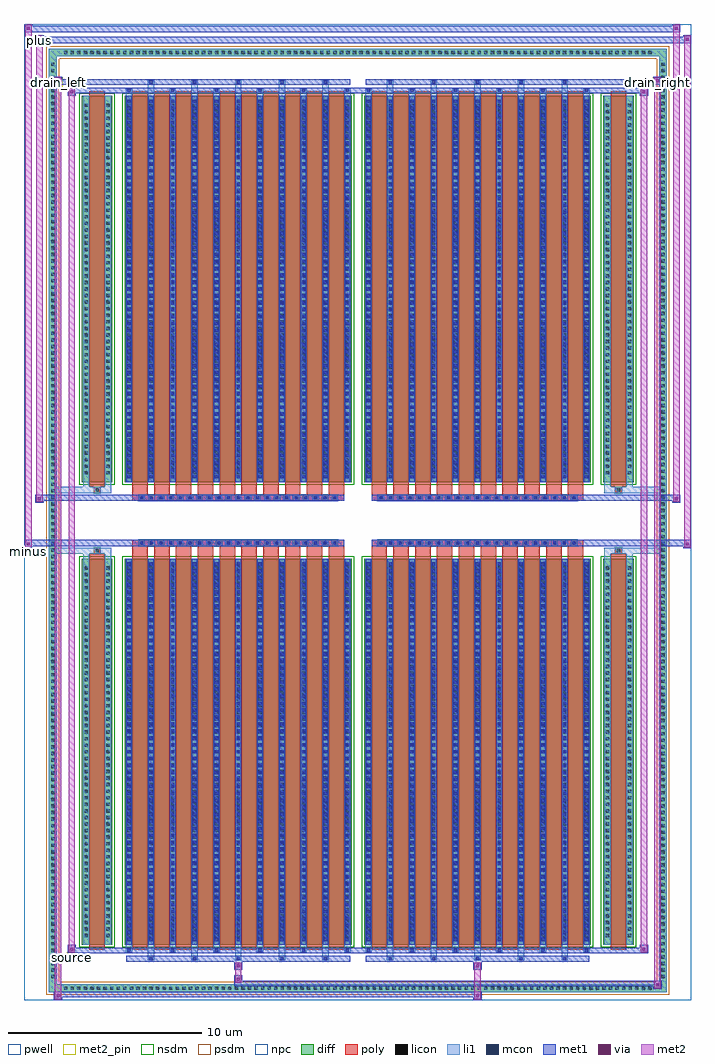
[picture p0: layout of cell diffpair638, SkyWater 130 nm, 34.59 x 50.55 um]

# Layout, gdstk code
import gdstk
lib = gdstk.Library(unit=1e-6, precision=5e-09)
def R(c, l, rs):  # rectangles x0, y0, x1, y1
    for r in rs: c.add(gdstk.rectangle(r[:2], r[2:], *l))
def A(c, l, x, y, w, h, nx, ny, dx, dy):  # array of equal rectangles
    R(c, l, [(x+i*dx, y+j*dy, x+i*dx+w, y+j*dy+h) for i in range(nx) for j in range(ny)])
def P(c, l, *ps):  # polygons
    for p in ps: c.add(gdstk.Polygon(p, *l))
pwell = (64, 44)
diff = (65, 20)
poly = (66, 20)
licon = (66, 44)
li1 = (67, 20)
mcon = (67, 44)
met1 = (68, 20)
via = (68, 44)
met2_pin = (69, 16)
met2 = (69, 20)
nsdm = (93, 44)
psdm = (94, 20)
npc = (95, 20)

diffpair638 = lib.new_cell('diffpair638')
R(diffpair638, pwell, [(-17.28,-24.84,17.28,25.71), (-14.6,-23.03,-0.01,-0.805), (0.01,-23.03,14.6,-0.805), (-14.6,0.805,-0.01,23.03), (0.01,0.805,14.6,23.03)])
A(diffpair638, diff, -15.335, -24.44, 0.41, 0.41, 90, 2, 0.34, 48.47)
A(diffpair638, diff, -16.01, -23.835, 0.41, 0.41, 1, 140, 0, 0.34)
A(diffpair638, diff, 15.6, -23.835, 0.41, 0.41, 1, 140, 0, 0.34)
R(diffpair638, diff, [(-15.335,-24.44,15.335,-24.03), (-16.01,-23.835,-15.6,23.835), (15.6,-23.835,16.01,23.835), (-14.29,-21.985,-12.71,-1.985), (-12.07,-21.985,-0.32,-1.985), (0.32,-21.985,12.07,-1.985), (12.71,-21.985,14.29,-1.985), (-14.29,1.985,-12.71,21.985), (-12.07,1.985,-0.32,21.985), (0.32,1.985,12.07,21.985), (12.71,1.985,14.29,21.985), (-15.335,24.03,15.335,24.44)])
P(diffpair638, diff, [(16.01,24.44),(-16.01,24.44),(-16.01,-24.03),(-15.6,-24.03),(-15.6,24.03),(15.6,24.03),(15.6,-24.03),(-15.6,-24.03),(-16.01,-24.03),(-16.01,-24.44),(16.01,-24.44)])
A(diffpair638, poly, -11.68, -22.235, 0.8, 20.5, 10, 2, 1.13, 23.97)
A(diffpair638, poly, 0.71, -22.235, 0.8, 20.5, 10, 2, 1.13, 23.97)
A(diffpair638, poly, -11.68, -1.735, 0.8, 0.4, 10, 2, 1.13, 3.07)
A(diffpair638, poly, 0.71, -1.735, 0.8, 0.4, 10, 2, 1.13, 3.07)
A(diffpair638, poly, -11.36, -1.335, 0.33, 0.33, 21, 2, 0.5, 2.34)
A(diffpair638, poly, 1.03, -1.335, 0.33, 0.33, 21, 2, 0.5, 2.34)
R(diffpair638, poly, [(-13.9,-22.235,-13.1,-1.735), (13.1,-22.235,13.9,-1.735), (-13.665,-1.735,-13.335,-1.405), (-13.665,-1.735,-13.335,-1.405), (13.335,-1.735,13.665,-1.405), (13.335,-1.735,13.665,-1.405), (-11.68,-1.335,-0.71,-1.005), (0.71,-1.335,11.68,-1.005), (-11.68,1.005,-0.71,1.335), (0.71,1.005,11.68,1.335), (-13.665,1.405,-13.335,1.735), (-13.665,1.405,-13.335,1.735), (13.335,1.405,13.665,1.735), (13.335,1.405,13.665,1.735), (-13.9,1.735,-13.1,22.235), (13.1,1.735,13.9,22.235)])
A(diffpair638, licon, -15.215, -24.32, 0.17, 0.17, 90, 2, 0.34, 48.47)
A(diffpair638, licon, -15.89, -23.715, 0.17, 0.17, 1, 140, 0, 0.34)
A(diffpair638, licon, 15.72, -23.715, 0.17, 0.17, 1, 140, 0, 0.34)
A(diffpair638, licon, -14.15, -21.59, 0.17, 0.17, 1, 57, 0, 0.34)
A(diffpair638, licon, -13.02, -21.59, 0.17, 0.17, 1, 57, 0, 0.34)
A(diffpair638, licon, -11.93, -21.59, 0.17, 0.17, 11, 57, 1.13, 0.34)
A(diffpair638, licon, 0.46, -21.59, 0.17, 0.17, 11, 57, 1.13, 0.34)
A(diffpair638, licon, 12.85, -21.59, 0.17, 0.17, 1, 57, 0, 0.34)
A(diffpair638, licon, 13.98, -21.59, 0.17, 0.17, 1, 57, 0, 0.34)
A(diffpair638, licon, -11.28, -1.255, 0.17, 0.17, 21, 2, 0.5, 2.34)
A(diffpair638, licon, 1.11, -1.255, 0.17, 0.17, 21, 2, 0.5, 2.34)
A(diffpair638, licon, -14.15, 2.38, 0.17, 0.17, 1, 57, 0, 0.34)
A(diffpair638, licon, -13.02, 2.38, 0.17, 0.17, 1, 57, 0, 0.34)
A(diffpair638, licon, -11.93, 2.38, 0.17, 0.17, 11, 57, 1.13, 0.34)
A(diffpair638, licon, 0.46, 2.38, 0.17, 0.17, 11, 57, 1.13, 0.34)
A(diffpair638, licon, 12.85, 2.38, 0.17, 0.17, 1, 57, 0, 0.34)
A(diffpair638, licon, 13.98, 2.38, 0.17, 0.17, 1, 57, 0, 0.34)
R(diffpair638, licon, [(-13.585,-1.655,-13.415,-1.485), (13.415,-1.655,13.585,-1.485), (-13.585,1.485,-13.415,1.655), (13.415,1.485,13.585,1.655)])
A(diffpair638, li1, -15.295, -24.4, 0.33, 0.33, 90, 2, 0.34, 48.47)
A(diffpair638, li1, -15.97, -23.795, 0.33, 0.33, 1, 140, 0, 0.34)
A(diffpair638, li1, 15.64, -23.795, 0.33, 0.33, 1, 140, 0, 0.34)
A(diffpair638, li1, -10.88, -22.79, 0.33, 0.805, 5, 2, 2.26, 44.775)
A(diffpair638, li1, -10.8, -22.79, 0.17, 0.17, 5, 2, 2.26, 45.41)
A(diffpair638, li1, 1.51, -22.79, 0.33, 0.805, 5, 2, 2.26, 44.775)
A(diffpair638, li1, 1.59, -22.79, 0.17, 0.17, 5, 2, 2.26, 45.41)
A(diffpair638, li1, -12.01, -22.36, 0.33, 0.375, 6, 2, 2.26, 44.345)
A(diffpair638, li1, -11.93, -22.36, 0.17, 0.17, 6, 2, 2.26, 44.55)
A(diffpair638, li1, 0.38, -22.36, 0.33, 0.375, 6, 2, 2.26, 44.345)
A(diffpair638, li1, 0.46, -22.36, 0.17, 0.17, 6, 2, 2.26, 44.55)
A(diffpair638, li1, -12.01, -21.985, 0.33, 20, 11, 2, 1.13, 23.97)
A(diffpair638, li1, 0.38, -21.985, 0.33, 20, 11, 2, 1.13, 23.97)
A(diffpair638, li1, -11.93, -21.79, 0.17, 0.17, 11, 55, 1.13, 0.36)
A(diffpair638, li1, -11.93, -21.79, 0.17, 19.61, 11, 2, 1.13, 23.97)
A(diffpair638, li1, 0.46, -21.79, 0.17, 0.17, 11, 55, 1.13, 0.36)
A(diffpair638, li1, 0.46, -21.79, 0.17, 19.61, 11, 2, 1.13, 23.97)
A(diffpair638, li1, -14.23, -21.67, 0.33, 0.33, 1, 57, 0, 0.34)
A(diffpair638, li1, -13.1, -21.67, 0.33, 0.33, 1, 57, 0, 0.34)
A(diffpair638, li1, -12.01, -21.67, 0.33, 0.33, 11, 57, 1.13, 0.34)
A(diffpair638, li1, 0.38, -21.67, 0.33, 0.33, 11, 57, 1.13, 0.34)
A(diffpair638, li1, 12.77, -21.67, 0.33, 0.33, 1, 57, 0, 0.34)
A(diffpair638, li1, 13.9, -21.67, 0.33, 0.33, 1, 57, 0, 0.34)
A(diffpair638, li1, -11.36, -1.335, 0.33, 0.33, 21, 2, 0.5, 2.34)
A(diffpair638, li1, 1.03, -1.335, 0.33, 0.33, 21, 2, 0.5, 2.34)
A(diffpair638, li1, -11.93, 2.18, 0.17, 0.17, 11, 55, 1.13, 0.36)
A(diffpair638, li1, 0.46, 2.18, 0.17, 0.17, 11, 55, 1.13, 0.36)
A(diffpair638, li1, -14.23, 2.3, 0.33, 0.33, 1, 57, 0, 0.34)
A(diffpair638, li1, -13.1, 2.3, 0.33, 0.33, 1, 57, 0, 0.34)
A(diffpair638, li1, -12.01, 2.3, 0.33, 0.33, 11, 57, 1.13, 0.34)
A(diffpair638, li1, 0.38, 2.3, 0.33, 0.33, 11, 57, 1.13, 0.34)
A(diffpair638, li1, 12.77, 2.3, 0.33, 0.33, 1, 57, 0, 0.34)
A(diffpair638, li1, 13.9, 2.3, 0.33, 0.33, 1, 57, 0, 0.34)
R(diffpair638, li1, [(-16.01,-24.44,-15.6,-24.03), (-16.01,-24.44,-15.6,-24.03), (-15.6,-24.44,15.6,-24.03), (15.6,-24.44,16.01,-24.03), (15.6,-24.44,16.01,-24.03), (-16.01,-24.03,-15.6,24.03), (15.6,-24.03,16.01,24.03), (-14.23,-21.985,-13.9,-1.985), (-13.1,-21.985,-12.77,-1.985), (12.77,-21.985,13.1,-1.985), (13.9,-21.985,14.23,-1.985), (-14.23,-1.985,-13.9,-1.405), (-13.1,-1.985,-12.77,-1.405), (12.77,-1.985,13.1,-1.405), (13.9,-1.985,14.23,-1.405), (-16.01,-1.735,-13.665,-1.405), (-14.23,-1.735,-13.665,-1.405), (-13.665,-1.735,-13.335,-1.405), (-13.335,-1.735,-12.77,-1.405), (12.77,-1.735,13.335,-1.405), (13.335,-1.735,13.665,-1.405), (13.335,-1.735,16.01,-1.405), (13.665,-1.735,14.23,-1.405), (-16.01,1.405,-13.665,1.735), (-14.23,1.405,-13.665,1.735), (-14.23,1.405,-13.9,1.985), (-13.665,1.405,-13.335,1.735), (-13.335,1.405,-12.77,1.735), (-13.1,1.405,-12.77,1.985), (12.77,1.405,13.335,1.735), (12.77,1.405,13.1,1.985), (13.335,1.405,13.665,1.735), (13.335,1.405,16.01,1.735), (13.665,1.405,14.23,1.735), (13.9,1.405,14.23,1.985), (-14.23,1.985,-13.9,21.985), (-13.1,1.985,-12.77,21.985), (12.77,1.985,13.1,21.985), (13.9,1.985,14.23,21.985), (-16.01,24.03,-15.6,24.44), (-16.01,24.03,-15.6,24.44), (-15.6,24.03,15.6,24.44), (15.6,24.03,16.01,24.44), (15.6,24.03,16.01,24.44)])
A(diffpair638, mcon, -10.8, -22.79, 0.17, 0.17, 5, 2, 2.26, 45.41)
A(diffpair638, mcon, 1.59, -22.79, 0.17, 0.17, 5, 2, 2.26, 45.41)
A(diffpair638, mcon, -11.93, -22.36, 0.17, 0.17, 6, 2, 2.26, 44.55)
A(diffpair638, mcon, 0.46, -22.36, 0.17, 0.17, 6, 2, 2.26, 44.55)
A(diffpair638, mcon, -11.93, -21.79, 0.17, 0.17, 11, 55, 1.13, 0.36)
A(diffpair638, mcon, 0.46, -21.79, 0.17, 0.17, 11, 55, 1.13, 0.36)
A(diffpair638, mcon, -11.28, -1.255, 0.17, 0.17, 21, 2, 0.5, 2.34)
A(diffpair638, mcon, 1.11, -1.255, 0.17, 0.17, 21, 2, 0.5, 2.34)
A(diffpair638, mcon, -11.93, 2.18, 0.17, 0.17, 11, 55, 1.13, 0.36)
A(diffpair638, mcon, 0.46, 2.18, 0.17, 0.17, 11, 55, 1.13, 0.36)
A(diffpair638, met1, -10.86, -22.85, 0.29, 0.29, 5, 2, 2.26, 45.41)
A(diffpair638, met1, 1.53, -22.85, 0.29, 0.29, 5, 2, 2.26, 45.41)
A(diffpair638, met1, -11.99, -22.42, 0.29, 0.29, 6, 2, 2.26, 44.55)
A(diffpair638, met1, 0.4, -22.42, 0.29, 0.29, 6, 2, 2.26, 44.55)
A(diffpair638, met1, -11.99, -21.985, 0.29, 20, 11, 2, 1.13, 23.97)
A(diffpair638, met1, 0.4, -21.985, 0.29, 20, 11, 2, 1.13, 23.97)
A(diffpair638, met1, -11.99, -21.85, 0.29, 0.29, 11, 55, 1.13, 0.36)
A(diffpair638, met1, 0.4, -21.85, 0.29, 0.29, 11, 55, 1.13, 0.36)
A(diffpair638, met1, -11.34, -1.315, 0.29, 0.29, 21, 2, 0.5, 2.34)
A(diffpair638, met1, 1.05, -1.315, 0.29, 0.29, 21, 2, 0.5, 2.34)
A(diffpair638, met1, -11.99, 2.12, 0.29, 0.29, 11, 55, 1.13, 0.36)
A(diffpair638, met1, 0.4, 2.12, 0.29, 0.29, 11, 55, 1.13, 0.36)
R(diffpair638, met1, [(-15.74,-24.84,-15.31,-24.41), (5.98,-24.84,6.41,-24.41), (-15.74,-24.7,6.41,-24.41), (15.31,-24.27,15.74,-23.84), (-6.41,-24.13,15.74,-23.84), (-6.41,-23.99,-5.98,-23.56), (-6.41,-23.28,-5.98,-22.85), (5.98,-23.28,6.41,-22.85), (-11.99,-22.85,-0.4,-22.56), (0.4,-22.85,11.99,-22.56), (-15.03,-22.42,-14.6,-21.99), (-15.03,-22.42,-11.99,-22.13), (-11.99,-22.42,-0.4,-22.13), (-0.4,-22.42,0.4,-22.13), (0.4,-22.42,11.99,-22.13), (11.99,-22.42,15.03,-22.13), (14.6,-22.42,15.03,-21.99), (-17.28,-1.435,-16.85,-1.005), (16.85,-1.435,17.28,-1.005), (-17.28,-1.335,-0.71,-1.005), (-11.68,-1.335,-0.71,-1.005), (0.71,-1.335,11.68,-1.005), (0.71,-1.335,17.28,-1.005), (-16.71,0.905,-16.28,1.335), (16.28,0.905,16.71,1.335), (-16.71,1.005,-11.68,1.335), (-11.68,1.005,-0.71,1.335), (0.71,1.005,11.68,1.335), (11.68,1.005,16.71,1.335), (-15.03,21.99,-14.6,22.42), (14.6,21.99,15.03,22.42), (-15.03,22.13,-11.99,22.42), (-11.99,22.13,-0.4,22.42), (-0.4,22.13,0.4,22.42), (0.4,22.13,11.99,22.42), (11.99,22.13,15.03,22.42), (-15.74,22.56,-15.31,22.99), (-15.74,22.56,-11.99,22.85), (-11.99,22.56,-0.4,22.85), (0.4,22.56,11.99,22.85), (11.99,22.56,15.74,22.85), (15.31,22.56,15.74,22.99), (-16.71,24.71,-16.28,25.14), (-16.71,24.71,-14.6,25.04), (-14.6,24.71,14.6,25.04), (14.6,24.71,17.28,25.04), (16.85,24.71,17.28,25.14), (-17.28,25.28,-16.85,25.71), (-17.28,25.28,-14.6,25.61), (-14.6,25.28,14.6,25.61), (14.6,25.28,16.71,25.61), (16.28,25.28,16.71,25.71)])
R(diffpair638, via, [(-15.6,-24.7,-15.45,-24.55), (6.12,-24.7,6.27,-24.55), (15.45,-24.13,15.6,-23.98), (-6.27,-23.85,-6.12,-23.7), (-6.27,-23.14,-6.12,-22.99), (6.12,-23.14,6.27,-22.99), (-14.89,-22.28,-14.74,-22.13), (14.74,-22.28,14.89,-22.13), (-17.14,-1.295,-16.99,-1.145), (16.99,-1.295,17.14,-1.145), (-16.57,1.045,-16.42,1.195), (16.42,1.045,16.57,1.195), (-14.89,22.13,-14.74,22.28), (14.74,22.13,14.89,22.28), (-15.6,22.7,-15.45,22.85), (15.45,22.7,15.6,22.85), (-16.57,24.85,-16.42,25), (16.99,24.85,17.14,25), (-17.14,25.42,-16.99,25.57), (16.42,25.42,16.57,25.57)])
R(diffpair638, met2_pin, [(-15.065,-22.87,-14.565,-22.37), (-17.315,-1.885,-16.815,-1.385), (-15.775,22.44,-15.275,22.94), (15.275,22.44,15.775,22.94), (-16.745,24.59,-16.245,25.09)])
R(diffpair638, met2, [(-15.69,-24.79,-15.36,-24.46), (-15.69,-24.79,-15.36,22.94), (6.03,-24.79,6.36,-24.46), (6.03,-24.46,6.36,-23.23), (15.36,-24.22,15.69,-23.89), (15.36,-24.22,15.69,22.94), (-6.36,-23.94,-6.03,-23.61), (-6.36,-23.61,-6.03,-23.23), (-6.36,-23.23,-6.03,-22.9), (6.03,-23.23,6.36,-22.9), (-14.98,-22.37,-14.65,-22.04), (-14.98,-22.37,-14.65,22.37), (14.65,-22.37,14.98,-22.04), (14.65,-22.37,14.98,22.37), (-17.23,-1.385,-16.9,-1.055), (-17.23,-1.385,-16.9,25.66), (16.9,-1.385,17.23,-1.055), (16.9,-1.385,17.23,25.09), (-16.66,0.955,-16.33,1.285), (-16.66,0.955,-16.33,25.09), (16.33,0.955,16.66,1.285), (16.33,0.955,16.66,25.66), (-14.98,22.04,-14.65,22.37), (14.65,22.04,14.98,22.37), (-15.69,22.61,-15.36,22.94), (15.36,22.61,15.69,22.94), (-16.66,24.76,-16.33,25.09), (16.9,24.76,17.23,25.09), (-17.23,25.33,-16.9,25.66), (16.33,25.33,16.66,25.66)])
P(diffpair638, met2, [(17.23,-1.385),(17.23,-1.385),(17.23,-1.055),(17.23,-1.055)],
  [(17.23,24.76),(17.23,24.76),(17.23,25.09),(17.23,25.09)],
  [(-16.9,-1.385),(-16.9,-1.385),(-16.9,-1.055),(-16.9,-1.055)],
  [(-16.9,25.33),(-16.9,25.33),(-16.9,25.66),(-16.9,25.66)],
  [(16.66,0.955),(16.66,0.955),(16.66,1.285),(16.66,1.285)],
  [(16.66,25.33),(16.66,25.33),(16.66,25.66),(16.66,25.66)],
  [(-16.33,0.955),(-16.33,0.955),(-16.33,1.285),(-16.33,1.285)],
  [(-16.33,24.76),(-16.33,24.76),(-16.33,25.09),(-16.33,25.09)],
  [(-15.36,-24.79),(-15.36,-24.79),(-15.36,-24.46),(-15.36,-24.46)],
  [(-15.36,22.61),(-15.36,22.61),(-15.36,22.94),(-15.36,22.94)],
  [(15.69,-24.22),(15.69,-24.22),(15.69,-23.89),(15.69,-23.89)],
  [(15.69,22.61),(15.69,22.61),(15.69,22.94),(15.69,22.94)],
  [(-14.65,-22.37),(-14.65,-22.37),(-14.65,-22.04),(-14.65,-22.04)],
  [(-14.65,22.04),(-14.65,22.04),(-14.65,22.37),(-14.65,22.37)],
  [(14.98,-22.37),(14.98,-22.37),(14.98,-22.04),(14.98,-22.04)],
  [(14.98,22.04),(14.98,22.04),(14.98,22.37),(14.98,22.37)])
R(diffpair638, nsdm, [(-14.42,-22.115,-12.58,-1.855), (-12.2,-22.115,-0.19,-1.855), (0.19,-22.115,12.2,-1.855), (12.58,-22.115,14.42,-1.855), (-14.42,1.855,-12.58,22.115), (-12.2,1.855,-0.19,22.115), (0.19,1.855,12.2,22.115), (12.58,1.855,14.42,22.115)])
P(diffpair638, psdm, [(16.14,24.57),(-16.14,24.57),(-16.14,-23.9),(-15.47,-23.9),(-15.47,23.9),(15.47,23.9),(15.47,-23.9),(-15.47,-23.9),(-16.14,-23.9),(-16.14,-24.57),(16.14,-24.57)])
A(diffpair638, npc, -11.38, -1.355, 0.37, 0.37, 21, 2, 0.5, 2.34)
A(diffpair638, npc, 1.01, -1.355, 0.37, 0.37, 21, 2, 0.5, 2.34)
R(diffpair638, npc, [(-13.685,-1.755,-13.315,-1.385), (13.315,-1.755,13.685,-1.385), (-11.38,-1.355,-10.51,-0.985), (-11.38,-1.355,-10.51,-0.985), (-10.88,-1.355,-10.01,-0.985), (-10.88,-1.355,-10.01,-0.985), (-10.38,-1.355,-9.51,-0.985), (-10.38,-1.355,-9.51,-0.985), (-9.88,-1.355,-9.01,-0.985), (-9.88,-1.355,-9.01,-0.985), (-9.38,-1.355,-8.51,-0.985), (-9.38,-1.355,-8.51,-0.985), (-8.88,-1.355,-8.01,-0.985), (-8.88,-1.355,-8.01,-0.985), (-8.38,-1.355,-7.51,-0.985), (-8.38,-1.355,-7.51,-0.985), (-7.88,-1.355,-7.01,-0.985), (-7.88,-1.355,-7.01,-0.985), (-7.38,-1.355,-6.51,-0.985), (-7.38,-1.355,-6.51,-0.985), (-6.88,-1.355,-6.01,-0.985), (-6.88,-1.355,-6.01,-0.985), (-6.38,-1.355,-5.51,-0.985), (-6.38,-1.355,-5.51,-0.985), (-5.88,-1.355,-5.01,-0.985), (-5.88,-1.355,-5.01,-0.985), (-5.38,-1.355,-4.51,-0.985), (-5.38,-1.355,-4.51,-0.985), (-4.88,-1.355,-4.01,-0.985), (-4.88,-1.355,-4.01,-0.985), (-4.38,-1.355,-3.51,-0.985), (-4.38,-1.355,-3.51,-0.985), (-3.88,-1.355,-3.01,-0.985), (-3.88,-1.355,-3.01,-0.985), (-3.38,-1.355,-2.51,-0.985), (-3.38,-1.355,-2.51,-0.985), (-2.88,-1.355,-2.01,-0.985), (-2.88,-1.355,-2.01,-0.985), (-2.38,-1.355,-1.51,-0.985), (-2.38,-1.355,-1.51,-0.985), (-1.88,-1.355,-1.01,-0.985), (-1.88,-1.355,-1.01,-0.985), (1.01,-1.355,1.88,-0.985), (1.01,-1.355,1.88,-0.985), (1.51,-1.355,2.38,-0.985), (1.51,-1.355,2.38,-0.985), (2.01,-1.355,2.88,-0.985), (2.01,-1.355,2.88,-0.985), (2.51,-1.355,3.38,-0.985), (2.51,-1.355,3.38,-0.985), (3.01,-1.355,3.88,-0.985), (3.01,-1.355,3.88,-0.985), (3.51,-1.355,4.38,-0.985), (3.51,-1.355,4.38,-0.985), (4.01,-1.355,4.88,-0.985), (4.01,-1.355,4.88,-0.985), (4.51,-1.355,5.38,-0.985), (4.51,-1.355,5.38,-0.985), (5.01,-1.355,5.88,-0.985), (5.01,-1.355,5.88,-0.985), (5.51,-1.355,6.38,-0.985), (5.51,-1.355,6.38,-0.985), (6.01,-1.355,6.88,-0.985), (6.01,-1.355,6.88,-0.985), (6.51,-1.355,7.38,-0.985), (6.51,-1.355,7.38,-0.985), (7.01,-1.355,7.88,-0.985), (7.01,-1.355,7.88,-0.985), (7.51,-1.355,8.38,-0.985), (7.51,-1.355,8.38,-0.985), (8.01,-1.355,8.88,-0.985), (8.01,-1.355,8.88,-0.985), (8.51,-1.355,9.38,-0.985), (8.51,-1.355,9.38,-0.985), (9.01,-1.355,9.88,-0.985), (9.01,-1.355,9.88,-0.985), (9.51,-1.355,10.38,-0.985), (9.51,-1.355,10.38,-0.985), (10.01,-1.355,10.88,-0.985), (10.01,-1.355,10.88,-0.985), (10.51,-1.355,11.38,-0.985), (10.51,-1.355,11.38,-0.985), (-11.38,0.985,-10.51,1.355), (-11.38,0.985,-10.51,1.355), (-10.88,0.985,-10.01,1.355), (-10.88,0.985,-10.01,1.355), (-10.38,0.985,-9.51,1.355), (-10.38,0.985,-9.51,1.355), (-9.88,0.985,-9.01,1.355), (-9.88,0.985,-9.01,1.355), (-9.38,0.985,-8.51,1.355), (-9.38,0.985,-8.51,1.355), (-8.88,0.985,-8.01,1.355), (-8.88,0.985,-8.01,1.355), (-8.38,0.985,-7.51,1.355), (-8.38,0.985,-7.51,1.355), (-7.88,0.985,-7.01,1.355), (-7.88,0.985,-7.01,1.355), (-7.38,0.985,-6.51,1.355), (-7.38,0.985,-6.51,1.355), (-6.88,0.985,-6.01,1.355), (-6.88,0.985,-6.01,1.355), (-6.38,0.985,-5.51,1.355), (-6.38,0.985,-5.51,1.355), (-5.88,0.985,-5.01,1.355), (-5.88,0.985,-5.01,1.355), (-5.38,0.985,-4.51,1.355), (-5.38,0.985,-4.51,1.355), (-4.88,0.985,-4.01,1.355), (-4.88,0.985,-4.01,1.355), (-4.38,0.985,-3.51,1.355), (-4.38,0.985,-3.51,1.355), (-3.88,0.985,-3.01,1.355), (-3.88,0.985,-3.01,1.355), (-3.38,0.985,-2.51,1.355), (-3.38,0.985,-2.51,1.355), (-2.88,0.985,-2.01,1.355), (-2.88,0.985,-2.01,1.355), (-2.38,0.985,-1.51,1.355), (-2.38,0.985,-1.51,1.355), (-1.88,0.985,-1.01,1.355), (-1.88,0.985,-1.01,1.355), (1.01,0.985,1.88,1.355), (1.01,0.985,1.88,1.355), (1.51,0.985,2.38,1.355), (1.51,0.985,2.38,1.355), (2.01,0.985,2.88,1.355), (2.01,0.985,2.88,1.355), (2.51,0.985,3.38,1.355), (2.51,0.985,3.38,1.355), (3.01,0.985,3.88,1.355), (3.01,0.985,3.88,1.355), (3.51,0.985,4.38,1.355), (3.51,0.985,4.38,1.355), (4.01,0.985,4.88,1.355), (4.01,0.985,4.88,1.355), (4.51,0.985,5.38,1.355), (4.51,0.985,5.38,1.355), (5.01,0.985,5.88,1.355), (5.01,0.985,5.88,1.355), (5.51,0.985,6.38,1.355), (5.51,0.985,6.38,1.355), (6.01,0.985,6.88,1.355), (6.01,0.985,6.88,1.355), (6.51,0.985,7.38,1.355), (6.51,0.985,7.38,1.355), (7.01,0.985,7.88,1.355), (7.01,0.985,7.88,1.355), (7.51,0.985,8.38,1.355), (7.51,0.985,8.38,1.355), (8.01,0.985,8.88,1.355), (8.01,0.985,8.88,1.355), (8.51,0.985,9.38,1.355), (8.51,0.985,9.38,1.355), (9.01,0.985,9.88,1.355), (9.01,0.985,9.88,1.355), (9.51,0.985,10.38,1.355), (9.51,0.985,10.38,1.355), (10.01,0.985,10.88,1.355), (10.01,0.985,10.88,1.355), (10.51,0.985,11.38,1.355), (10.51,0.985,11.38,1.355), (-13.685,1.385,-13.315,1.755), (13.315,1.385,13.685,1.755)])
diffpair638.add(gdstk.Label('minus', (-17.065,-1.635), layer=69, texttype=5))
diffpair638.add(gdstk.Label('drain_right', (15.525,22.69), layer=69, texttype=5))
diffpair638.add(gdstk.Label('drain_left', (-15.525,22.69), layer=69, texttype=5))
diffpair638.add(gdstk.Label('source', (-14.815,-22.62), layer=69, texttype=5))
diffpair638.add(gdstk.Label('plus', (-16.495,24.84), layer=69, texttype=5))

lib.write_gds('diffpair638.gds')
